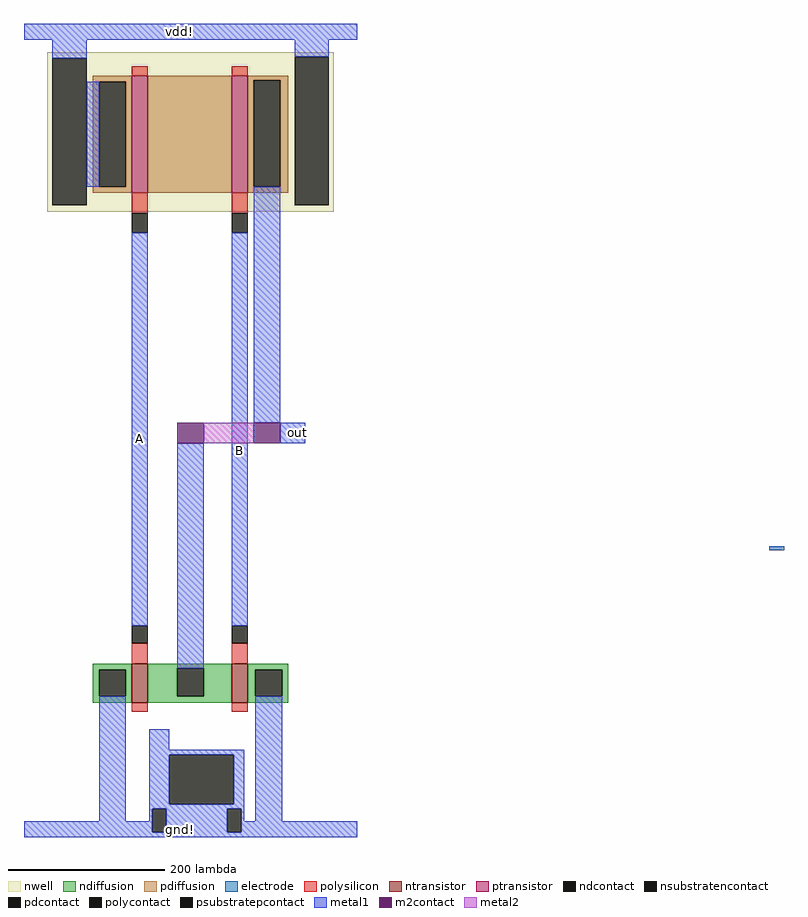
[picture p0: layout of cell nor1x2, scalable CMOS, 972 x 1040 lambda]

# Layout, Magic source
magic
tech scmos
<< nwell >>
rect -174 336 192 540
<< polysilicon >>
rect -66 510 -46 522
rect 62 510 82 522
rect -66 334 -46 360
rect 62 334 82 360
rect -66 -242 -46 -216
rect 62 -242 82 -216
rect -66 -304 -46 -292
rect 62 -304 82 -292
<< electrode >>
rect 749 -97 768 -92
<< ndiffusion >>
rect -116 -250 -66 -242
rect -116 -284 -108 -250
rect -74 -284 -66 -250
rect -116 -292 -66 -284
rect -46 -248 62 -242
rect -46 -284 -8 -248
rect 26 -284 62 -248
rect -46 -292 62 -284
rect 82 -250 134 -242
rect 82 -284 92 -250
rect 126 -284 134 -250
rect 82 -292 134 -284
<< pdiffusion >>
rect -116 502 -66 510
rect -116 368 -108 502
rect -74 368 -66 502
rect -116 360 -66 368
rect -46 360 62 510
rect 82 504 134 510
rect 82 368 90 504
rect 124 368 134 504
rect 82 360 134 368
<< metal1 >>
rect -204 556 222 576
rect -168 532 -124 556
rect 142 534 186 556
rect -124 368 -108 502
rect -66 -194 -46 309
rect -8 -248 26 40
rect 62 -194 82 309
rect 90 66 124 368
rect 124 40 156 66
rect -108 -444 -74 -284
rect -44 -352 -18 -326
rect -44 -359 78 -352
rect -44 -422 -18 -359
rect 64 -422 78 -359
rect -44 -428 78 -422
rect -44 -444 -40 -428
rect -204 -458 -40 -444
rect -22 -458 56 -428
rect 74 -444 78 -428
rect 92 -444 126 -284
rect 74 -458 222 -444
rect -204 -464 222 -458
<< metal2 >>
rect 26 40 90 66
<< ntransistor >>
rect -66 -292 -46 -242
rect 62 -292 82 -242
<< ptransistor >>
rect -66 360 -46 510
rect 62 360 82 510
<< polycontact >>
rect -66 309 -46 334
rect 62 309 82 334
rect -66 -216 -46 -194
rect 62 -216 82 -194
<< ndcontact >>
rect -108 -284 -74 -250
rect -8 -284 26 -248
rect 92 -284 126 -250
<< pdcontact >>
rect -108 368 -74 502
rect 90 368 124 504
<< m2contact >>
rect -8 40 26 66
rect 90 40 124 66
<< psubstratepcontact >>
rect -18 -422 64 -359
rect -40 -458 -22 -428
rect 56 -458 74 -428
<< nsubstratencontact >>
rect -168 344 -124 532
rect 142 344 186 534
<< labels >>
rlabel metal1 -5 566 -5 566 1 vdd!
rlabel metal1 -4 -454 -4 -454 1 gnd!
rlabel metal1 146 53 146 53 1 out
rlabel metal1 -56 46 -56 46 1 A
rlabel metal1 72 31 72 31 1 B
<< end >>
